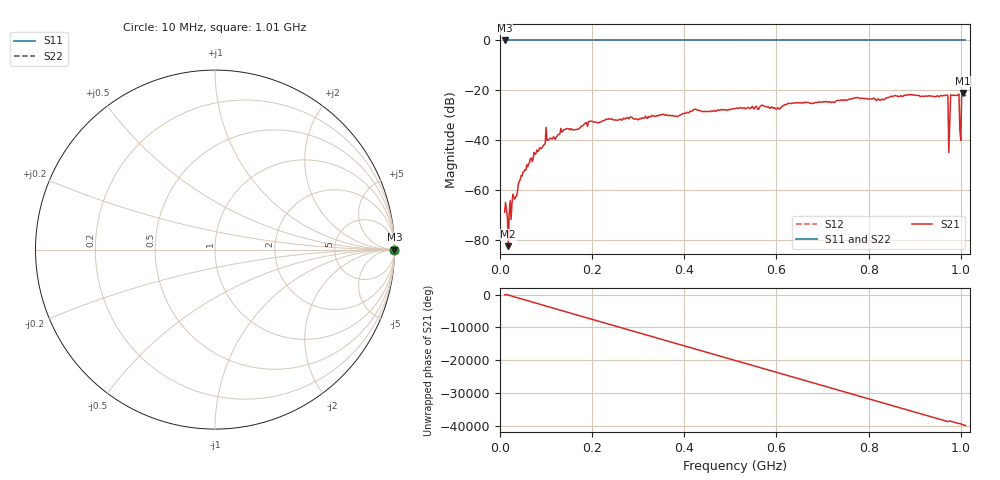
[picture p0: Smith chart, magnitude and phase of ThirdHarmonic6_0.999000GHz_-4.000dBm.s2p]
! 8/16/2025 8:01:55 AM
! C:\ANRITSUVNA\TEMP\TEMP.S2P
! CHANNEL.1
! TR.MEASUREMENT
! RAW.DATA
! RF.CORRECTION.OFF
! AVERAGING.OFF
! IF.BANDWIDTH: 5KHZ
! SWEEPTYPE:  FREQ.SWEEP(Linear)
! Reference Plane Port Info
! PORT:  PORT1  PORT2
! DISTANCE:  0  m  0  m
! TIME:  0  s  0  s
! PHASE.OFFSET:  0  deg.  0  deg.
! LOSS:  0  dB  0  dB
! REF.LOSS:  0  dB  0  dB
! REF.FREQ:  0  Hz  0  Hz
! Power Info
! POWER:  -20  dBm  -20  dBm
! EFF.POWER:  -20  dBm  -20  dBm
! SOURCE.ATTEN:  0  dB  0  dB
! TEST.ATTEN:  0  dB  0  dB
# GHZ S RI R 50.0
! FREQ.GHZ  S11RE  S11IM  S21RE  S21IM  S12RE  S12IM  S22RE  S22IM
!; PortSelection: Port_12
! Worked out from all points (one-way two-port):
!   501 points, 10 MHz to 1.01 GHz, reference 50 ohm
!   highest |S21| = -21.12 dB at 1.004 GHz (marker M1); lowest = -82.5 dB at 18 MHz (marker M2)
!   lowest |S11| = 0.0 dB at 10 MHz (marker M3)
!   |S11| at or under -10 dB: nowhere
!   |S22| runs from 0.0 to 0.0 dB; largest |S21 - S12| = 1.1
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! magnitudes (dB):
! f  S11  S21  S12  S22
! 10 MHz  0.0  -68.9  0.0  0.0
! 18 MHz  0.0  -82.5  0.0  0.0
! 20 MHz  0.0  -69.4  0.0  0.0
! 26 MHz  0.0  -65.2  0.0  0.0
! 50 MHz  0.0  -52.8  0.0  0.0
! 100 MHz  0.0  -34.8  0.0  0.0
! 178 MHz  0.0  -34.4  0.0  0.0
! 196 MHz  0.0  -32.4  0.0  0.0
! 344 MHz  0.0  -30.2  0.0  0.0
! 510 MHz  0.0  -27.4  0.0  0.0
! 678 MHz  0.0  -25.3  0.0  0.0
! 844 MHz  0.0  -22.9  0.0  0.0
! 968 MHz  0.0  -22.0  0.0  0.0
! 972 MHz  0.0  -22.1  0.0  0.0
! 978 MHz  0.0  -21.8  0.0  0.0
! 982 MHz  0.0  -22.0  0.0  0.0
! 992 MHz  0.0  -22.0  0.0  0.0
! 996 MHz  0.0  -21.5  0.0  0.0
! 1.002 GHz  0.0  -21.1  0.0  0.0
! 1.004 GHz  0.0  -21.1  0.0  0.0
! 1.006 GHz  0.0  -21.9  0.0  0.0
! 1.01 GHz  0.0  -22.1  0.0  0.0
